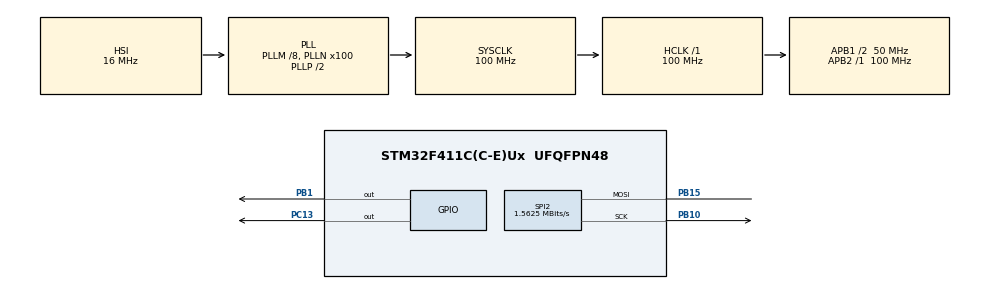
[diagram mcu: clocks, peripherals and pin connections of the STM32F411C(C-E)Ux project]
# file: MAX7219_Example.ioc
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Mcu.Family=STM32F4
Mcu.Name=STM32F411C(C-E)Ux
Mcu.Package=UFQFPN48
NVIC.PriorityGroup=NVIC_PRIORITYGROUP_4
PA13.Mode=Serial_Wire
PA13.Signal=SYS_JTMS-SWDIO
PA14.Mode=Serial_Wire
PA14.Signal=SYS_JTCK-SWCLK
PB1.PinState=GPIO_PIN_SET
PB1.Signal=GPIO_Output
PB10.Mode=Simplex_Bidirectional_Master
PB10.Signal=SPI2_SCK
PB15.Mode=Simplex_Bidirectional_Master
PB15.Signal=SPI2_MOSI
PC13-ANTI_TAMP.Signal=GPIO_Output
PH0\ -\ OSC_IN.Mode=HSE-External-Oscillator
PH0\ -\ OSC_IN.Signal=RCC_OSC_IN
PH1\ -\ OSC_OUT.Mode=HSE-External-Oscillator
PH1\ -\ OSC_OUT.Signal=RCC_OSC_OUT
ProjectManager.HeapSize=0x200
ProjectManager.StackSize=0x400
ProjectManager.TargetToolchain=STM32CubeIDE
RCC.48MHZClocksFreq_Value=50000000
RCC.AHBFreq_Value=100000000
RCC.APB1CLKDivider=RCC_HCLK_DIV2
RCC.APB1Freq_Value=50000000
RCC.APB1TimFreq_Value=100000000
RCC.APB2Freq_Value=100000000
RCC.APB2TimFreq_Value=100000000
RCC.CortexFreq_Value=100000000
RCC.HCLKFreq_Value=100000000
RCC.HSE_VALUE=25000000
RCC.HSI_VALUE=16000000
RCC.LSE_VALUE=32768
RCC.PLLM=8
RCC.PLLN=100
RCC.SYSCLKFreq_VALUE=100000000
RCC.SYSCLKSource=RCC_SYSCLKSOURCE_PLLCLK
RCC.VCOOutputFreq_Value=200000000
SPI2.BaudRatePrescaler=SPI_BAUDRATEPRESCALER_32
SPI2.CLKPolarity=SPI_POLARITY_HIGH
SPI2.CalculateBaudRate=1.5625 MBits/s
SPI2.DataSize=SPI_DATASIZE_16BIT
SPI2.Direction=SPI_DIRECTION_1LINE
SPI2.Mode=SPI_MODE_MASTER
SPI2.VirtualType=VM_MASTER
board=custom

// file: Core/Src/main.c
/* USER CODE BEGIN Header */
/**
  ******************************************************************************
  * @file           : main.c
  * @brief          : Main program body
  ******************************************************************************
  * @attention
  *
  * Copyright (c) 2026 STMicroelectronics.
  * All rights reserved.
  *
  * This software is licensed under terms that can be found in the LICENSE file
  * in the root directory of this software component.
  * If no LICENSE file comes with this software, it is provided AS-IS.
  *
  ******************************************************************************
  */
/* USER CODE END Header */
#include "main.h"

/* USER CODE BEGIN Includes */
#include "MAX7219.h"
/* USER CODE END Includes */

/* USER CODE BEGIN PD */
/* -- Parámetros de la batería de pruebas -- */
#define TEST_NUM_DEV     4U    /**< Módulos 8x8 en cascada (1 a MAX7219_MAX_DEV); los tests asumen 4 */
#define TEST_SCROLL_MS   60U   /**< Retardo entre pasos del scroll */
#define TEST_BRILLO      1U    /**< Nivel de brillo de trabajo (el mismo con el que arranca MAX7219_Init) */

/* USER CODE END PD */

/* USER CODE BEGIN PM */
#define MAX_CHECK(x)  do { if ((x) != MAX7219_OK) { Error_Handler(); } } while (0)
/* Para los tests de error: la llamada debe devolver exactamente el estado esperado */
#define MAX_EXPECT(x, st)  do { if ((x) != (st)) { Error_Handler(); } } while (0)

/* USER CODE END PM */

SPI_HandleTypeDef hspi2;

/* USER CODE BEGIN PV */
MAX7219_Status_t status;
/* USER CODE END PV */

void SystemClock_Config(void);
static void MX_GPIO_Init(void);
static void MX_SPI2_Init(void);
/* USER CODE BEGIN PFP */
static void MAX7219_TestSuite(void);
static void MAX7219_TestPrint(void);
static void MAX7219_TestFonts(void);
static void MAX7219_TestPutc(void);
static void MAX7219_TestPixeles(void);
static void MAX7219_TestBarrido(void);
static void MAX7219_TestLineas(void);
static void MAX7219_TestRectangulos(void);
static void MAX7219_TestBitmap(void);
static void MAX7219_TestInversion(void);
static void MAX7219_TestBrillo(void);
static void MAX7219_TestScroll(void);
static void MAX7219_TestSleep(void);
static void MAX7219_TestErrores(void);
static void MAX7219_TestPreInit(void);
static void MAX7219_TestDeInit(void);
/* USER CODE END PFP */

int main(void)
{

  /* MCU Configuration--------------------------------------------------------*/

  /* Reset of all peripherals, Initializes the Flash interface and the Systick. */
  HAL_Init();

  /* Configure the system clock */
  SystemClock_Config();

  /* Initialize all configured peripherals */
  MX_GPIO_Init();
  MX_SPI2_Init();
  /* USER CODE BEGIN 2 */
  MAX7219_TestPreInit();

  status = MAX7219_Init(&hspi2, GPIOB, GPIO_PIN_1, TEST_NUM_DEV);
  if (status != MAX7219_OK)
  {
	  Error_Handler();
  }
  else
  {
	  HAL_GPIO_WritePin(GPIOC, GPIO_PIN_13, GPIO_PIN_RESET);
  }
  /* USER CODE END 2 */

  /* Infinite loop */
  /* USER CODE BEGIN WHILE */
  while (1)
  {
	  MAX7219_TestSuite();
    /* USER CODE END WHILE */

  }
}

void SystemClock_Config(void)
{
  RCC_OscInitTypeDef RCC_OscInitStruct = {0};
  RCC_ClkInitTypeDef RCC_ClkInitStruct = {0};

  /** Configure the main internal regulator output voltage
  */
  __HAL_RCC_PWR_CLK_ENABLE();
  __HAL_PWR_VOLTAGESCALING_CONFIG(PWR_REGULATOR_VOLTAGE_SCALE1);

  /** Initializes the RCC Oscillators according to the specified parameters
  * in the RCC_OscInitTypeDef structure.
  */
  RCC_OscInitStruct.OscillatorType = RCC_OSCILLATORTYPE_HSI;
  RCC_OscInitStruct.HSIState = RCC_HSI_ON;
  RCC_OscInitStruct.HSICalibrationValue = RCC_HSICALIBRATION_DEFAULT;
  RCC_OscInitStruct.PLL.PLLState = RCC_PLL_ON;
  RCC_OscInitStruct.PLL.PLLSource = RCC_PLLSOURCE_HSI;
  RCC_OscInitStruct.PLL.PLLM = 8;
  RCC_OscInitStruct.PLL.PLLN = 100;
  RCC_OscInitStruct.PLL.PLLP = RCC_PLLP_DIV2;
  RCC_OscInitStruct.PLL.PLLQ = 4;
  if (HAL_RCC_OscConfig(&RCC_OscInitStruct) != HAL_OK)
  {
    Error_Handler();
  }

  /** Initializes the CPU, AHB and APB buses clocks
  */
  RCC_ClkInitStruct.ClockType = RCC_CLOCKTYPE_HCLK|RCC_CLOCKTYPE_SYSCLK
                              |RCC_CLOCKTYPE_PCLK1|RCC_CLOCKTYPE_PCLK2;
  RCC_ClkInitStruct.SYSCLKSource = RCC_SYSCLKSOURCE_PLLCLK;
  RCC_ClkInitStruct.AHBCLKDivider = RCC_SYSCLK_DIV1;
  RCC_ClkInitStruct.APB1CLKDivider = RCC_HCLK_DIV2;
  RCC_ClkInitStruct.APB2CLKDivider = RCC_HCLK_DIV1;

  if (HAL_RCC_ClockConfig(&RCC_ClkInitStruct, FLASH_LATENCY_3) != HAL_OK)
  {
    Error_Handler();
  }
}

static void MX_SPI2_Init(void)
{

  /* SPI2 parameter configuration*/
  hspi2.Instance = SPI2;
  hspi2.Init.Mode = SPI_MODE_MASTER;
  hspi2.Init.Direction = SPI_DIRECTION_1LINE;
  hspi2.Init.DataSize = SPI_DATASIZE_16BIT;
  hspi2.Init.CLKPolarity = SPI_POLARITY_HIGH;
  hspi2.Init.CLKPhase = SPI_PHASE_1EDGE;
  hspi2.Init.NSS = SPI_NSS_SOFT;
  hspi2.Init.BaudRatePrescaler = SPI_BAUDRATEPRESCALER_32;
  hspi2.Init.FirstBit = SPI_FIRSTBIT_MSB;
  hspi2.Init.TIMode = SPI_TIMODE_DISABLE;
  hspi2.Init.CRCCalculation = SPI_CRCCALCULATION_DISABLE;
  hspi2.Init.CRCPolynomial = 10;
  if (HAL_SPI_Init(&hspi2) != HAL_OK)
  {
    Error_Handler();
  }

}

static void MX_GPIO_Init(void)
{
  GPIO_InitTypeDef GPIO_InitStruct = {0};

  /* GPIO Ports Clock Enable */
  __HAL_RCC_GPIOC_CLK_ENABLE();
  __HAL_RCC_GPIOH_CLK_ENABLE();
  __HAL_RCC_GPIOB_CLK_ENABLE();
  __HAL_RCC_GPIOA_CLK_ENABLE();

  /*Configure GPIO pin Output Level */
  HAL_GPIO_WritePin(GPIOC, GPIO_PIN_13, GPIO_PIN_RESET);

  /*Configure GPIO pin Output Level */
  HAL_GPIO_WritePin(GPIOB, GPIO_PIN_1, GPIO_PIN_SET);

  /*Configure GPIO pin : PC13 */
  GPIO_InitStruct.Pin = GPIO_PIN_13;
  GPIO_InitStruct.Mode = GPIO_MODE_OUTPUT_PP;
  GPIO_InitStruct.Pull = GPIO_NOPULL;
  GPIO_InitStruct.Speed = GPIO_SPEED_FREQ_LOW;
  HAL_GPIO_Init(GPIOC, &GPIO_InitStruct);

  /*Configure GPIO pin : PB1 */
  GPIO_InitStruct.Pin = GPIO_PIN_1;
  GPIO_InitStruct.Mode = GPIO_MODE_OUTPUT_PP;
  GPIO_InitStruct.Pull = GPIO_NOPULL;
  GPIO_InitStruct.Speed = GPIO_SPEED_FREQ_LOW;
  HAL_GPIO_Init(GPIOB, &GPIO_InitStruct);

}

/* USER CODE BEGIN 4 */

static void MAX7219_TestSuite(void)
{
	MAX7219_TestPrint();
	HAL_Delay(2000);

	MAX7219_TestFonts();
	HAL_Delay(2000);

	MAX7219_TestPutc();
	HAL_Delay(2000);

	MAX7219_TestPixeles();
	HAL_Delay(2000);

	MAX7219_TestBarrido();
	HAL_Delay(2000);

	MAX7219_TestLineas();
	HAL_Delay(2000);

	MAX7219_TestRectangulos();
	HAL_Delay(2000);

	MAX7219_TestBitmap();
	HAL_Delay(2000);

	MAX7219_TestInversion();
	HAL_Delay(2000);

	MAX7219_TestBrillo();
	HAL_Delay(2000);

	MAX7219_TestScroll();
	HAL_Delay(2000);

	MAX7219_TestSleep();
	HAL_Delay(2000);

	MAX7219_TestErrores();
	HAL_Delay(2000);

	MAX7219_TestDeInit();
	HAL_Delay(2000);
}

static void MAX7219_TestPrint(void)
{
	/* -- PrintString: cada carácter ocupa 7 columnas, con 4 módulos caben 4 caracteres -- */
	MAX_CHECK(MAX7219_PrintString("1234"));
	HAL_Delay(1500);

	/* -- Un solo carácter: queda pegado al borde izquierdo y apaga los restos de "1234" -- */
	MAX_CHECK(MAX7219_PrintString("A"));
	HAL_Delay(1500);

	/* -- Texto más largo que la matriz: se recorta en el borde derecho sin error
	 *    (debe verse "ABCD" y las 4 primeras columnas de la "E") -- */
	MAX_CHECK(MAX7219_PrintString("ABCDEFGH"));
}

static void MAX7219_TestFonts(void)
{
	const uint16_t w = MAX7219_GetWidth();

	/* -- Texto centrado con GetStringWidth: "Hi" ocupa 14 columnas, sobran 9 a cada lado -- */
	MAX_CHECK(MAX7219_Fill(MAX7219_COLOR_OFF));
	MAX_CHECK(MAX7219_GotoXY((w - MAX7219_GetStringWidth("Hi")) / 2, 0));
	MAX_CHECK(MAX7219_Puts("Hi", MAX7219_COLOR_ON));
	MAX_CHECK(MAX7219_UpdateScreen());
	HAL_Delay(1500);

	/* -- Texto apagado sobre fondo encendido: Putc es opaco y pinta la celda con el color contrario -- */
	MAX_CHECK(MAX7219_Fill(MAX7219_COLOR_ON));
	MAX_CHECK(MAX7219_GotoXY(2, 0));
	MAX_CHECK(MAX7219_Puts("Inv", MAX7219_COLOR_OFF));
	MAX_CHECK(MAX7219_UpdateScreen());
}

static void MAX7219_TestPutc(void)
{
	const uint16_t w = MAX7219_GetWidth();

	/* -- Puts recorta el último carácter que empieza dentro de la pantalla y devuelve OK:
	 *    "12345" -> la "5" empieza en x = 28 y solo se ven sus 4 primeras columnas -- */
	MAX_CHECK(MAX7219_Fill(MAX7219_COLOR_OFF));
	MAX_CHECK(MAX7219_GotoXY(0, 0));
	MAX_CHECK(MAX7219_Puts("12345", MAX7219_COLOR_ON));
	MAX_CHECK(MAX7219_UpdateScreen());
	HAL_Delay(1500);

	/* -- Con el cursor ya fuera de la pantalla, el siguiente carácter se rechaza -- */
	MAX_EXPECT(MAX7219_Putc('6', MAX7219_COLOR_ON), MAX7219_INVALID_PARAM);
	MAX_CHECK(MAX7219_GotoXY(0, 0));
	MAX_EXPECT(MAX7219_Puts("123456", MAX7219_COLOR_ON), MAX7219_INVALID_PARAM);

	/* -- Cursor desplazado hacia abajo: la "A" baja 3 filas y pierde su parte inferior -- */
	MAX_CHECK(MAX7219_Fill(MAX7219_COLOR_OFF));
	MAX_CHECK(MAX7219_GotoXY(w / 2, 3));
	MAX_CHECK(MAX7219_Putc('A', MAX7219_COLOR_ON));

	/* -- Errores: cadena NULL -- */
	MAX_EXPECT(MAX7219_Puts(NULL, MAX7219_COLOR_ON), MAX7219_INVALID_PARAM);
	MAX_CHECK(MAX7219_UpdateScreen());
}

static void MAX7219_TestPixeles(void)
{
	const uint16_t w = MAX7219_GetWidth();
	const uint16_t h = MAX7219_GetHeight();

	if (w != TEST_NUM_DEV * 8U || h != 8U)
	{
		Error_Handler();
	}

	/* -- Un píxel en cada esquina: deben verse los cuatro, pegados al borde -- */
	MAX_CHECK(MAX7219_Fill(MAX7219_COLOR_OFF));
	MAX_CHECK(MAX7219_DrawPixel(0, 0, MAX7219_COLOR_ON));
	MAX_CHECK(MAX7219_DrawPixel(w - 1, 0, MAX7219_COLOR_ON));
	MAX_CHECK(MAX7219_DrawPixel(0, h - 1, MAX7219_COLOR_ON));
	MAX_CHECK(MAX7219_DrawPixel(w - 1, h - 1, MAX7219_COLOR_ON));

	/* -- Orden de la cascada: el módulo n (de izquierda a derecha) muestra n + 1 puntos en la fila central -- */
	for (uint16_t dev = 0; dev < TEST_NUM_DEV; dev++)
	{
		for (uint16_t i = 0; i <= dev; i++)
		{
			MAX_CHECK(MAX7219_DrawPixel(dev * 8U + 1U + 2U * i, h / 2, MAX7219_COLOR_ON));
		}
	}

	/* -- Fuera de pantalla: DrawPixel no recorta y lo rechaza -- */
	MAX_EXPECT(MAX7219_DrawPixel(w, 0, MAX7219_COLOR_ON), MAX7219_INVALID_PARAM);
	MAX_EXPECT(MAX7219_DrawPixel(0, h, MAX7219_COLOR_ON), MAX7219_INVALID_PARAM);
	MAX_CHECK(MAX7219_UpdateScreen());
}

static void MAX7219_TestBarrido(void)
{
	const uint16_t w = MAX7219_GetWidth();
	const uint16_t h = MAX7219_GetHeight();

	/* -- Barrido con SetPixel (actualiza al instante): las columnas avanzan de izquierda a
	 *    derecha sin saltos entre módulos y luego se apagan en el mismo orden -- */
	MAX_CHECK(MAX7219_Clear());
	for (uint8_t pasada = 0; pasada < 2; pasada++)
	{
		const uint8_t state = (pasada == 0) ? 1 : 0;

		for (uint16_t x = 0; x < w; x++)
		{
			for (uint16_t y = 0; y < h; y++)
			{
				MAX_CHECK(MAX7219_SetPixel(x, y, state));
			}
			HAL_Delay(30);
		}
	}

	/* -- Fuera de pantalla -- */
	MAX_EXPECT(MAX7219_SetPixel(w, 0, 1), MAX7219_INVALID_PARAM);
	MAX_EXPECT(MAX7219_SetPixel(0, h, 1), MAX7219_INVALID_PARAM);
}

static void MAX7219_TestLineas(void)
{
	const int16_t w = (int16_t)MAX7219_GetWidth();
	const int16_t h = (int16_t)MAX7219_GetHeight();

	/* -- Lineas: marco y diagonales de esquina a esquina -- */
	MAX_CHECK(MAX7219_Fill(MAX7219_COLOR_OFF));
	MAX_CHECK(MAX7219_DrawRectangle(0, 0, w - 1, h - 1, MAX7219_COLOR_ON));
	MAX_CHECK(MAX7219_DrawLine(0, 0, w - 1, h - 1, MAX7219_COLOR_ON));
	MAX_CHECK(MAX7219_DrawLine(0, h - 1, w - 1, 0, MAX7219_COLOR_ON));
	MAX_CHECK(MAX7219_UpdateScreen());
	HAL_Delay(1500);

	/* -- Recorte: las tres líneas deben cruzar la matriz completa (sin error ni huecos):
	 *    horizontal que sobresale 20 px por cada lado, horizontal con ancho negativo
	 *    y vertical con alto negativo -- */
	MAX_CHECK(MAX7219_Fill(MAX7219_COLOR_OFF));
	MAX_CHECK(MAX7219_DrawFastHLine(-20, 1, w + 40, MAX7219_COLOR_ON));
	MAX_CHECK(MAX7219_DrawFastHLine(w - 1, h - 2, -w, MAX7219_COLOR_ON));
	MAX_CHECK(MAX7219_DrawFastVLine(w / 2, h - 1, -h, MAX7219_COLOR_ON));
	MAX_CHECK(MAX7219_UpdateScreen());
}

static void MAX7219_TestRectangulos(void)
{
	const uint16_t w = MAX7219_GetWidth();
	const uint16_t h = MAX7219_GetHeight();

	/* -- Rectangulos: contorno a la izquierda (esquinas pasadas en orden inverso) y relleno
	 *    a la derecha con un ancho mayor que el disponible: se recorta en el borde derecho -- */
	MAX_CHECK(MAX7219_Fill(MAX7219_COLOR_OFF));
	MAX_CHECK(MAX7219_DrawRectangle(w / 2 - 2, h - 1, 0, 0, MAX7219_COLOR_ON));
	MAX_CHECK(MAX7219_DrawFilledRectangle(w / 2 + 1, 0, w, h, MAX7219_COLOR_ON));

	/* -- Hueco: rectángulo apagado dentro del relleno -- */
	MAX_CHECK(MAX7219_DrawFilledRectangle(w / 2 + 4, 2, 4, 4, MAX7219_COLOR_OFF));

	/* -- Tamaño 0: no dibuja nada y devuelve OK -- */
	MAX_CHECK(MAX7219_DrawFilledRectangle(2, 2, 0, 4, MAX7219_COLOR_ON));
	MAX_CHECK(MAX7219_UpdateScreen());
}

static void MAX7219_TestBitmap(void)
{
	const int16_t w = (int16_t)MAX7219_GetWidth();

	/* "F" de 6x8: asimétrica para detectar espejos. Ancho no múltiplo de 8 -> los
	 * 2 bits de relleno (0x03) van en 1 a propósito: si aparecen columnas extra a la
	 * derecha de la F, el relleno no se ignora. */
	static const uint8_t bmpF[] = {
		0xFF,
		0xFF,
		0xC3,
		0xF3,
		0xF3,
		0xC3,
		0xC3,
		0xC3,
	};
	const int16_t bw = 6;
	const int16_t bh = 8;

	/* -- Bitmaps: F pegada al borde izquierdo y F pegada al borde derecho -- */
	MAX_CHECK(MAX7219_Fill(MAX7219_COLOR_OFF));
	MAX_CHECK(MAX7219_DrawBitmap(0, 0, bmpF, bw, bh, MAX7219_COLOR_ON));
	MAX_CHECK(MAX7219_DrawBitmap(w - bw, 0, bmpF, bw, bh, MAX7219_COLOR_ON));

	/* -- Recorte: F a medio salir por arriba (solo se ve su mitad inferior, sin error) -- */
	MAX_CHECK(MAX7219_DrawBitmap(w / 2 - 8, -bh / 2, bmpF, bw, bh, MAX7219_COLOR_ON));

	/* -- Color: F apagada sobre un recuadro encendido (los bits en 0 no pintan) -- */
	MAX_CHECK(MAX7219_DrawFilledRectangle(w / 2, 0, bw + 2, bh, MAX7219_COLOR_ON));
	MAX_CHECK(MAX7219_DrawBitmap(w / 2 + 1, 0, bmpF, bw, bh, MAX7219_COLOR_OFF));

	/* -- Parámetro inválido: NULL debe rechazarse -- */
	MAX_EXPECT(MAX7219_DrawBitmap(0, 0, NULL, bw, bh, MAX7219_COLOR_ON), MAX7219_INVALID_PARAM);
	MAX_CHECK(MAX7219_UpdateScreen());
}

static void MAX7219_TestInversion(void)
{
	const uint16_t w = MAX7219_GetWidth();
	const uint16_t h = MAX7219_GetHeight();

	/* -- Mitad izquierda con texto, mitad derecha encendida -- */
	MAX_CHECK(MAX7219_Fill(MAX7219_COLOR_OFF));
	MAX_CHECK(MAX7219_GotoXY(0, 0));
	MAX_CHECK(MAX7219_Puts("ab", MAX7219_COLOR_ON));
	MAX_CHECK(MAX7219_DrawFilledRectangle(w / 2, 0, w / 2, h, MAX7219_COLOR_ON));
	MAX_CHECK(MAX7219_UpdateScreen());
	HAL_Delay(1500);

	/* -- ToggleInvert: el MAX7219 no invierte por hardware, se invierte el buffer y hace falta UpdateScreen -- */
	MAX_CHECK(MAX7219_ToggleInvert());
	MAX_CHECK(MAX7219_UpdateScreen());
	HAL_Delay(1500);

	/* -- Mientras está activa, los colores se invierten: Clear deja todos los LEDs encendidos -- */
	MAX_CHECK(MAX7219_Clear());
	HAL_Delay(1500);

	/* -- Segunda llamada: vuelve al estado normal (buffer invertido de nuevo -> todo apagado) -- */
	MAX_CHECK(MAX7219_ToggleInvert());
	MAX_CHECK(MAX7219_UpdateScreen());
}

static void MAX7219_TestBrillo(void)
{
	/* -- Rampa de brillo 0 -> 15 -> 0 sobre texto (no con la matriz llena: a brillo máximo
	 *    los 4 módulos encendidos pueden pedir más de 1 A a la fuente de 5 V) -- */
	MAX_CHECK(MAX7219_PrintString("Luz"));
	for (uint8_t nivel = 0; nivel <= MAX7219_INTENSITY_MAX; nivel++)
	{
		MAX_CHECK(MAX7219_SetIntensity(nivel));
		HAL_Delay(150);
	}
	for (int8_t nivel = MAX7219_INTENSITY_MAX; nivel >= 0; nivel--)
	{
		MAX_CHECK(MAX7219_SetIntensity((uint8_t)nivel));
		HAL_Delay(150);
	}

	/* -- Fuera de rango -- */
	MAX_EXPECT(MAX7219_SetIntensity(MAX7219_INTENSITY_MAX + 1U), MAX7219_INVALID_PARAM);

	/* Restaura el brillo de trabajo para el resto de los tests */
	MAX_CHECK(MAX7219_SetIntensity(TEST_BRILLO));
}

static void MAX7219_TestScroll(void)
{
	/* -- Scroll: el texto entra por la derecha y se desplaza hacia la izquierda -- */
	MAX_CHECK(MAX7219_Clear());
	MAX_CHECK(MAX7219_ScrollString("Matriz de LEDs  ", TEST_SCROLL_MS));
}

static void MAX7219_TestSleep(void)
{
	/* -- SetSleep: la matriz se apaga 1.5 s y al despertar vuelve la misma imagen
	 *    (los registros de dígito se conservan en shutdown, no hace falta redibujar) -- */
	MAX_CHECK(MAX7219_PrintString("Zzz"));
	HAL_Delay(1000);

	MAX_CHECK(MAX7219_SetSleep(1));
	HAL_Delay(1500);
	MAX_CHECK(MAX7219_SetSleep(0));
}

static void MAX7219_TestErrores(void)
{
	const uint16_t w = MAX7219_GetWidth();
	const uint16_t h = MAX7219_GetHeight();

	/* -- Coordenadas fuera de pantalla: no recortan y se rechazan sin dibujar nada -- */
	MAX_EXPECT(MAX7219_GotoXY(w, 0), MAX7219_INVALID_PARAM);
	MAX_EXPECT(MAX7219_GotoXY(0, h), MAX7219_INVALID_PARAM);
	MAX_EXPECT(MAX7219_DrawLine(0, 0, w, 0, MAX7219_COLOR_ON), MAX7219_INVALID_PARAM);
	MAX_EXPECT(MAX7219_DrawRectangle(0, 0, 4, h, MAX7219_COLOR_ON), MAX7219_INVALID_PARAM);
	MAX_EXPECT(MAX7219_DrawFilledRectangle(w, 0, 4, 4, MAX7219_COLOR_ON), MAX7219_INVALID_PARAM);

	/* -- Cadenas NULL (GetStringWidth no falla: devuelve 0) -- */
	MAX_EXPECT(MAX7219_PrintString(NULL), MAX7219_INVALID_PARAM);
	MAX_EXPECT(MAX7219_ScrollString(NULL, TEST_SCROLL_MS), MAX7219_INVALID_PARAM);
	if (MAX7219_GetStringWidth(NULL) != 0U || MAX7219_GetStringWidth("") != 0U)
	{
		Error_Handler();
	}

	/* -- Init con parámetros inválidos: se rechaza antes de tocar el estado del driver -- */
	MAX_EXPECT(MAX7219_Init(NULL, GPIOB, GPIO_PIN_1, TEST_NUM_DEV), MAX7219_INVALID_PARAM);
	MAX_EXPECT(MAX7219_Init(&hspi2, NULL, GPIO_PIN_1, TEST_NUM_DEV), MAX7219_INVALID_PARAM);
	MAX_EXPECT(MAX7219_Init(&hspi2, GPIOB, 0, TEST_NUM_DEV), MAX7219_INVALID_PARAM);
	MAX_EXPECT(MAX7219_Init(&hspi2, GPIOB, GPIO_PIN_1, 0), MAX7219_INVALID_PARAM);
	MAX_EXPECT(MAX7219_Init(&hspi2, GPIOB, GPIO_PIN_1, MAX7219_MAX_DEV + 1U), MAX7219_INVALID_PARAM);

	/* El driver sigue operativo tras los rechazos */
	MAX_CHECK(MAX7219_PrintString("Err"));
}

static void MAX7219_TestPreInit(void)
{
	/* -- Antes de Init: todo debe devolver NOT_INITIALIZED sin tocar el bus -- */
	if (MAX7219_GetWidth() != 0U || MAX7219_GetHeight() != 0U)
	{
		Error_Handler();
	}
	MAX_EXPECT(MAX7219_Clear(), MAX7219_NOT_INITIALIZED);
	MAX_EXPECT(MAX7219_Fill(MAX7219_COLOR_ON), MAX7219_NOT_INITIALIZED);
	MAX_EXPECT(MAX7219_DrawPixel(0, 0, MAX7219_COLOR_ON), MAX7219_NOT_INITIALIZED);
	MAX_EXPECT(MAX7219_Putc('X', MAX7219_COLOR_ON), MAX7219_NOT_INITIALIZED);
	MAX_EXPECT(MAX7219_UpdateScreen(), MAX7219_NOT_INITIALIZED);
	MAX_EXPECT(MAX7219_PrintString("X"), MAX7219_NOT_INITIALIZED);
	MAX_EXPECT(MAX7219_ScrollString("X", TEST_SCROLL_MS), MAX7219_NOT_INITIALIZED);
	MAX_EXPECT(MAX7219_SetPixel(0, 0, 1), MAX7219_NOT_INITIALIZED);
	MAX_EXPECT(MAX7219_SetIntensity(TEST_BRILLO), MAX7219_NOT_INITIALIZED);
	MAX_EXPECT(MAX7219_SetSleep(1), MAX7219_NOT_INITIALIZED);
	MAX_EXPECT(MAX7219_ToggleInvert(), MAX7219_NOT_INITIALIZED);
	MAX_EXPECT(MAX7219_DeInit(), MAX7219_NOT_INITIALIZED);

	/* -- GetStringWidth no depende de Init: 7 columnas por carácter -- */
	if (MAX7219_GetStringWidth("Hola") != 28U)
	{
		Error_Handler();
	}
}

static void MAX7219_TestDeInit(void)
{
	/* -- Re-Init sobre un driver ya inicializado: reconfigura la matriz y la limpia -- */
	MAX_CHECK(MAX7219_PrintString("Re"));
	HAL_Delay(1000);
	MAX_CHECK(MAX7219_Init(&hspi2, GPIOB, GPIO_PIN_1, TEST_NUM_DEV));
	HAL_Delay(1000);

	/* -- DeInit apaga la matriz y libera la configuración: las llamadas posteriores
	 *    deben devolver NOT_INITIALIZED sin tocar el bus -- */
	MAX_CHECK(MAX7219_PrintString("Off"));
	HAL_Delay(1000);
	MAX_CHECK(MAX7219_DeInit());
	MAX_EXPECT(MAX7219_DeInit(), MAX7219_NOT_INITIALIZED);
	MAX_EXPECT(MAX7219_Clear(), MAX7219_NOT_INITIALIZED);
	MAX_EXPECT(MAX7219_PrintString("X"), MAX7219_NOT_INITIALIZED);
	MAX_EXPECT(MAX7219_SetPixel(0, 0, 1), MAX7219_NOT_INITIALIZED);
	MAX_EXPECT(MAX7219_SetSleep(0), MAX7219_NOT_INITIALIZED);
	if (MAX7219_GetWidth() != 0U)
	{
		Error_Handler();
	}
	HAL_Delay(1500);

	/* -- Re-Init: el driver debe poder arrancar de nuevo tras un DeInit -- */
	MAX_CHECK(MAX7219_Init(&hspi2, GPIOB, GPIO_PIN_1, TEST_NUM_DEV));
	MAX_CHECK(MAX7219_PrintString("OK"));
}

/* USER CODE END 4 */

void Error_Handler(void)
{
  /* USER CODE BEGIN Error_Handler_Debug */
  /* User can add his own implementation to report the HAL error return state */
  while (1)
  {
	  HAL_GPIO_TogglePin(GPIOC, GPIO_PIN_13);
	  HAL_Delay(200);
  }
  /* USER CODE END Error_Handler_Debug */
}
